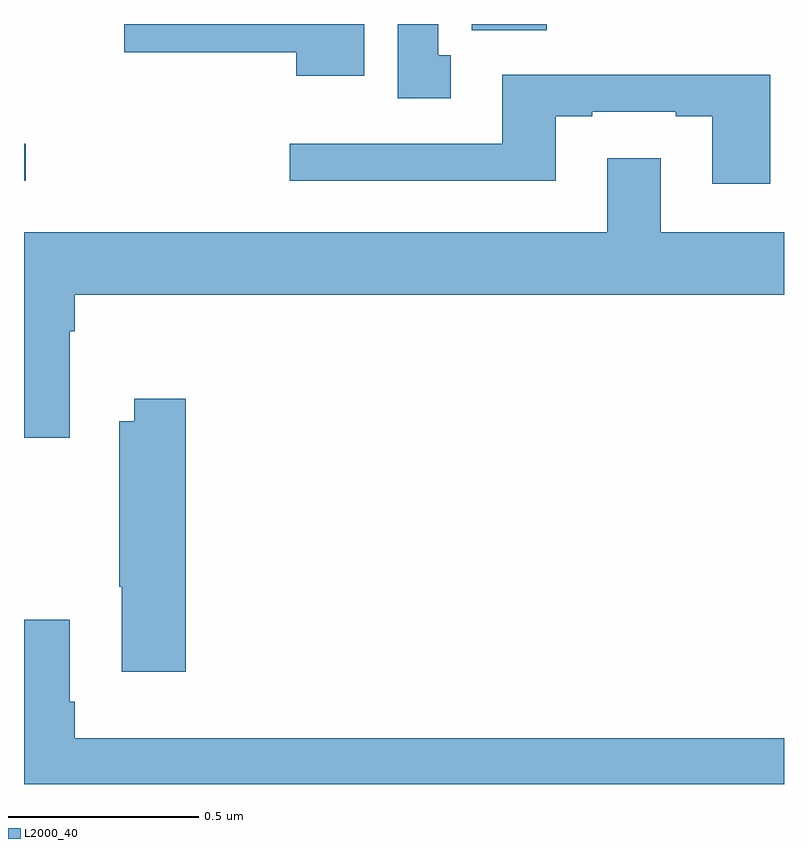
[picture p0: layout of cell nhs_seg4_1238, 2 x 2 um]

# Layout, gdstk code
import gdstk
lib = gdstk.Library(unit=1e-6, precision=1e-09)
def R(c, l, rs):  # rectangles x0, y0, x1, y1
    for r in rs: c.add(gdstk.rectangle(r[:2], r[2:], *l))
def P(c, l, *ps):  # polygons
    for p in ps: c.add(gdstk.Polygon(p, *l))
L2000_40 = (2000, 40)

nhs_seg4_1238 = lib.new_cell('nhs_seg4_1238')
R(nhs_seg4_1238, L2000_40, [(126,762.488,126.004,762.585), (127.178,762.884,127.375,762.9)])
P(nhs_seg4_1238, L2000_40, [(127.123,762.818),(127.09,762.818),(127.09,762.9),(126.983,762.9),(126.983,762.705),(127.123,762.705)],
  [(126.895,762.9),(126.264,762.9),(126.264,762.826),(126.716,762.826),(126.716,762.764),(126.895,762.764)],
  [(127.964,762.766),(127.259,762.766),(127.259,762.585),(126.699,762.585),(126.699,762.488),(127.399,762.488),(127.399,762.657),(127.495,762.657),(127.495,762.669),(127.715,762.669),(127.715,762.657),(127.811,762.657),(127.811,762.48),(127.964,762.48)],
  [(126.121,762.092),(126.134,762.092),(126.134,762.188),(128,762.188),(128,762.352),(127.675,762.352),(127.675,762.547),(127.535,762.547),(127.535,762.352),(126,762.352),(126,761.811),(126.121,761.811)],
  [(126.425,761.914),(126.29,761.914),(126.29,761.854),(126.25,761.854),(126.25,761.419),(126.257,761.419),(126.257,761.196),(126.425,761.196)],
  [(128,761.02),(126.134,761.02),(126.134,761.116),(126.121,761.116),(126.121,761.332),(126,761.332),(126,760.9),(128,760.9)])

lib.write_gds('nhs_seg4_1238.gds')
